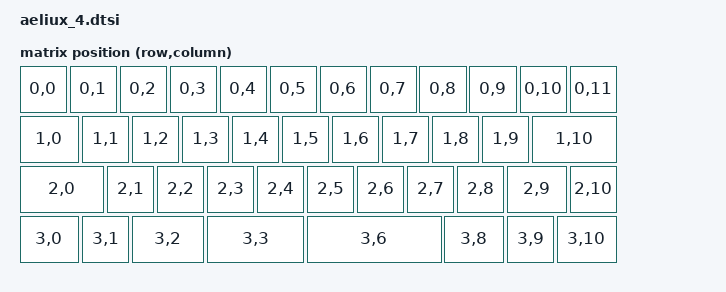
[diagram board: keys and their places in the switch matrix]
#include <dt-bindings/zmk/matrix_transform.h>
#include <physical_layouts.dtsi>
#include <behaviors/rgbled_widget.dtsi>

/ {
	chosen {
		zmk,physical-layout = &layout_aeliux_4;
	};
   
	default_transform: keymap_transform_0 {
		compatible = "zmk,matrix-transform";
		columns = <12>;
		rows = <4>;
		
    map = <
    RC(0,0) RC(0,1) RC(0,2) RC(0,3) RC(0,4) RC(0,5) RC(0,6) RC(0,7) RC(0,8) RC(0,9) RC(0,10) RC(0,11)
    RC(1,0) RC(1,1) RC(1,2) RC(1,3) RC(1,4) RC(1,5) RC(1,6) RC(1,7) RC(1,8) RC(1,9) RC(1,10)
    RC(2,0) RC(2,1) RC(2,2) RC(2,3) RC(2,4) RC(2,5) RC(2,6) RC(2,7) RC(2,8) RC(2,9) RC(2,10)
    RC(3,0) RC(3,1) RC(3,2)       RC(3,3)           RC(3,6)         RC(3,8) RC(3,9) RC(3,10)
		>;
	};

	layout_aeliux_4: layout_aeliux_4 {
		compatible = "zmk,physical-layout";
		display-name = "aeliux-4";
		transform = <&default_transform>;
		kscan = <&kscan0>;
		
        keys  //                     w   h    x    y     rot    rx    ry
            = <&key_physical_attrs 100 100    0    0       0     0     0>
            , <&key_physical_attrs 100 100  100    0       0     0     0>
            , <&key_physical_attrs 100 100  200    0       0     0     0>
            , <&key_physical_attrs 100 100  300    0       0     0     0>
            , <&key_physical_attrs 100 100  400    0       0     0     0>
            , <&key_physical_attrs 100 100  500    0       0     0     0>
            , <&key_physical_attrs 100 100  600    0       0     0     0>
            , <&key_physical_attrs 100 100  700    0       0     0     0>
            , <&key_physical_attrs 100 100  800    0       0     0     0>
            , <&key_physical_attrs 100 100  900    0       0     0     0>
            , <&key_physical_attrs 100 100 1000    0       0     0     0>
            , <&key_physical_attrs 100 100 1100    0       0     0     0>
            , <&key_physical_attrs 125 100    0  100       0     0     0>
            , <&key_physical_attrs 100 100  125  100       0     0     0>
            , <&key_physical_attrs 100 100  225  100       0     0     0>
            , <&key_physical_attrs 100 100  325  100       0     0     0>
            , <&key_physical_attrs 100 100  425  100       0     0     0>
            , <&key_physical_attrs 100 100  525  100       0     0     0>
            , <&key_physical_attrs 100 100  625  100       0     0     0>
            , <&key_physical_attrs 100 100  725  100       0     0     0>
            , <&key_physical_attrs 100 100  825  100       0     0     0>
            , <&key_physical_attrs 100 100  925  100       0     0     0>
            , <&key_physical_attrs 175 100 1025  100       0     0     0>
            , <&key_physical_attrs 175 100    0  200       0     0     0>
            , <&key_physical_attrs 100 100  175  200       0     0     0>
            , <&key_physical_attrs 100 100  275  200       0     0     0>
            , <&key_physical_attrs 100 100  375  200       0     0     0>
            , <&key_physical_attrs 100 100  475  200       0     0     0>
            , <&key_physical_attrs 100 100  575  200       0     0     0>
            , <&key_physical_attrs 100 100  675  200       0     0     0>
            , <&key_physical_attrs 100 100  775  200       0     0     0>
            , <&key_physical_attrs 100 100  875  200       0     0     0>
            , <&key_physical_attrs 125 100  975  200       0     0     0>
            , <&key_physical_attrs 100 100 1100  200       0     0     0>
            , <&key_physical_attrs 125 100    0  300       0     0     0>
            , <&key_physical_attrs 100 100  125  300       0     0     0>
            , <&key_physical_attrs 150 100  225  300       0     0     0>
            , <&key_physical_attrs 200 100  375  300       0     0     0>
            , <&key_physical_attrs 275 100  575  300       0     0     0>
            , <&key_physical_attrs 125 100  850  300       0     0     0>
            , <&key_physical_attrs 100 100  975  300       0     0     0>
            , <&key_physical_attrs 125 100 1075  300       0     0     0>
            ;
    };

    position_map {
        compatible = "zmk,physical-layout-position-map";

        layout_aeliux_4 {
            physical-layout = <&layout_aeliux_4>;
            positions = <>;
        };
    };

    aliases {
        led-red = &led0; 
        led-blue = &led1;
        led-green = &led2;
    };

    leds {
        compatible = "gpio-leds";
        status = "okay";
        led0: led_0 {
            gpios = <&gpio1 1 (GPIO_ACTIVE_LOW)>;  // red LED, connected to P1.01
        };
        led1: led_1 {
            gpios = <&gpio1 2 (GPIO_ACTIVE_LOW)>;  // yellow (blue) LED, connected to P1.02
        };
        led2: led_2 {
            gpios = <&gpio1 7 (GPIO_ACTIVE_LOW)>;  // green LED, connected to P1.07
        };
    };
   
};
